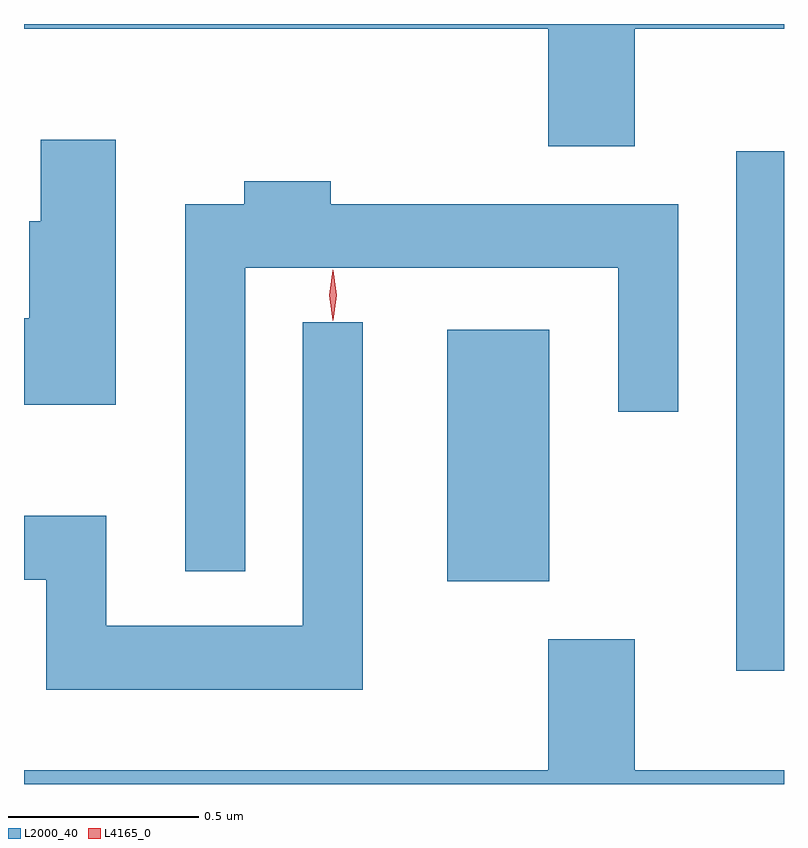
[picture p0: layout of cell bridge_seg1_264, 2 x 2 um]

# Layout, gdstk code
import gdstk
lib = gdstk.Library(unit=1e-6, precision=1e-09)
def R(c, l, rs):  # rectangles x0, y0, x1, y1
    for r in rs: c.add(gdstk.rectangle(r[:2], r[2:], *l))
def P(c, l, *ps):  # polygons
    for p in ps: c.add(gdstk.Polygon(p, *l))
L2000_40 = (2000, 40)
L4165_0 = (4165, 0)

bridge_seg1_264 = lib.new_cell('bridge_seg1_264')
R(bridge_seg1_264, L2000_40, [(965.636,893.446,965.762,894.813), (964.876,893.681,965.144,894.344)])
P(bridge_seg1_264, L2000_40, [(965.369,895.136),(965.762,895.136),(965.762,895.148),(963.762,895.148),(963.762,895.136),(965.141,895.136),(965.141,894.826),(965.369,894.826)],
  [(964.004,894.844),(963.806,894.844),(963.806,894.629),(963.776,894.629),(963.776,894.374),(963.762,894.374),(963.762,894.146),(964.004,894.146)],
  [(964.344,894.506),(965.326,894.506),(965.326,894.128),(965.484,894.128),(965.484,894.674),(964.569,894.674),(964.569,894.734),(964.341,894.734),(964.341,894.674),(964.186,894.674),(964.186,893.708),(964.344,893.708)],
  [(964.654,894.363),(964.496,894.363),(964.496,893.564),(963.979,893.564),(963.979,893.854),(963.762,893.854),(963.762,893.686),(963.821,893.686),(963.821,893.396),(964.654,893.396)],
  [(965.762,893.184),(965.369,893.184),(965.369,893.529),(965.141,893.529),(965.141,893.184),(963.762,893.184),(963.762,893.148),(965.762,893.148)])
P(bridge_seg1_264, L4165_0, [(964.575,894.367),(964.575,894.368),(964.565,894.434),(964.575,894.5),(964.575,894.501),(964.576,894.5),(964.585,894.434),(964.576,894.368)])

lib.write_gds('bridge_seg1_264.gds')
